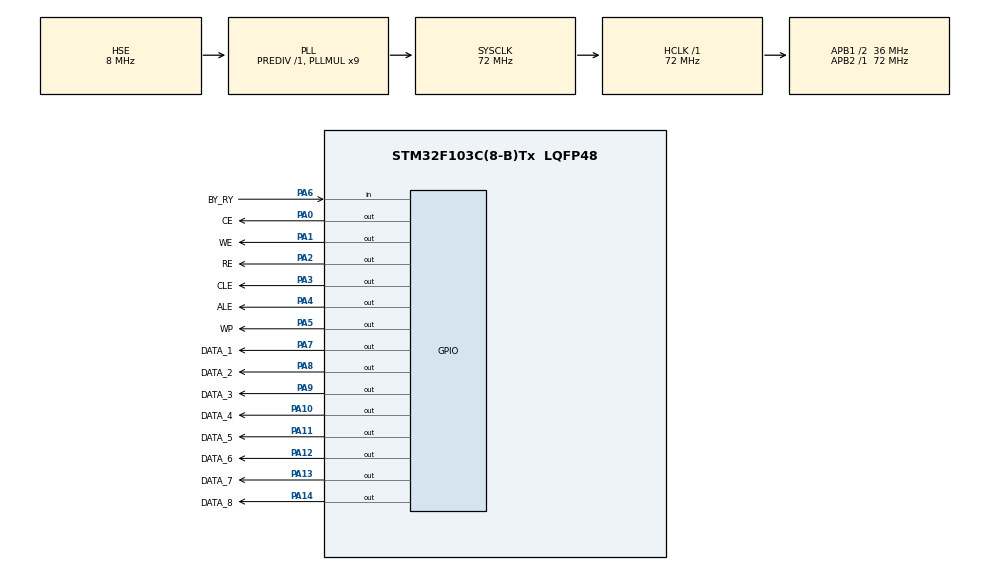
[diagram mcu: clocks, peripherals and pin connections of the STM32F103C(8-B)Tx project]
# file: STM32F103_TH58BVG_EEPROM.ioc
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Mcu.Family=STM32F1
Mcu.Name=STM32F103C(8-B)Tx
Mcu.Package=LQFP48
NVIC.PriorityGroup=NVIC_PRIORITYGROUP_4
PA0-WKUP.GPIO_Label=CE
PA0-WKUP.Signal=GPIO_Output
PA1.GPIO_Label=WE
PA1.Signal=GPIO_Output
PA10.GPIO_Label=DATA_4
PA10.Signal=GPIO_Output
PA11.GPIO_Label=DATA_5
PA11.Signal=GPIO_Output
PA12.GPIO_Label=DATA_6
PA12.Signal=GPIO_Output
PA13.GPIO_Label=DATA_7
PA13.Signal=GPIO_Output
PA14.GPIO_Label=DATA_8
PA14.Signal=GPIO_Output
PA2.GPIO_Label=RE
PA2.Signal=GPIO_Output
PA3.GPIO_Label=CLE
PA3.Signal=GPIO_Output
PA4.GPIO_Label=ALE
PA4.Signal=GPIO_Output
PA5.GPIO_Label=WP
PA5.Signal=GPIO_Output
PA6.GPIO_Label=BY_RY
PA6.Signal=GPIO_Input
PA7.GPIO_Label=DATA_1
PA7.Signal=GPIO_Output
PA8.GPIO_Label=DATA_2
PA8.Signal=GPIO_Output
PA9.GPIO_Label=DATA_3
PA9.Signal=GPIO_Output
PD0-OSC_IN.Mode=HSE-External-Oscillator
PD0-OSC_IN.Signal=RCC_OSC_IN
PD1-OSC_OUT.Mode=HSE-External-Oscillator
PD1-OSC_OUT.Signal=RCC_OSC_OUT
ProjectManager.HeapSize=0x200
ProjectManager.StackSize=0x400
ProjectManager.TargetToolchain=STM32CubeIDE
RCC.AHBFreq_Value=72000000
RCC.APB1CLKDivider=RCC_HCLK_DIV2
RCC.APB1Freq_Value=36000000
RCC.APB1TimFreq_Value=72000000
RCC.APB2Freq_Value=72000000
RCC.APB2TimFreq_Value=72000000
RCC.HCLKFreq_Value=72000000
RCC.PLLMUL=RCC_PLL_MUL9
RCC.PLLSourceVirtual=RCC_PLLSOURCE_HSE
RCC.SYSCLKFreq_VALUE=72000000
RCC.SYSCLKSource=RCC_SYSCLKSOURCE_PLLCLK
RCC.USBFreq_Value=72000000
VP_SYS_VS_ND.Mode=No_Debug
board=custom

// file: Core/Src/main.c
/* USER CODE BEGIN Header */
/**
  ******************************************************************************
  * @file           : main.c
  * @brief          : Main program body
  ******************************************************************************
  * @attention
  *
  * Copyright (c) 2024 STMicroelectronics.
  * All rights reserved.
  *
  * This software is licensed under terms that can be found in the LICENSE file
  * in the root directory of this software component.
  * If no LICENSE file comes with this software, it is provided AS-IS.
  *
  ******************************************************************************
  */
/* USER CODE END Header */
#include "main.h"

/* USER CODE BEGIN Includes */
#include "stdint.h"
/* USER CODE END Includes */

/* USER CODE BEGIN PD */
#define LOW 		(GPIO_PIN_RESET)
#define HIGH 		(GPIO_PIN_SET)
#define DATA_PINS	((uint32_t)(DATA_1_Pin | DATA_2_Pin | DATA_3_Pin | DATA_4_Pin | DATA_5_Pin | DATA_6_Pin | DATA_7_Pin | DATA_8_Pin))
/* USER CODE END PD */

void SystemClock_Config(void);
static void MX_GPIO_Init(void);

/* USER CODE BEGIN PFP */

void Set_Command_Mode(void);
void Set_Address_Input_Mode(void);
void Write_Command(uint8_t Command);
void Write_Address(uint8_t Address);
uint8_t Read_Data(void);
void Write_Data(uint8_t Data);
uint8_t Read_EEPROM_Bytes(uint8_t* ReadBuffer, uint16_t NumOfBytes, uint32_t PageAddress, uint16_t ColumnAddress);
uint8_t Write_EEPROM_Bytes(uint8_t* WriteBuffer, uint16_t NumOfBytes, uint32_t PageAddress, uint16_t ColumnAddress);

/* USER CODE END PFP */

int main(void)
{

  /* MCU Configuration--------------------------------------------------------*/

  /* Reset of all peripherals, Initializes the Flash interface and the Systick. */
  HAL_Init();

  /* Configure the system clock */
  SystemClock_Config();

  /* Initialize all configured peripherals */
  MX_GPIO_Init();

  /* Infinite loop */
  while (1)
  {

  }
}

void SystemClock_Config(void)
{
  RCC_OscInitTypeDef RCC_OscInitStruct = {0};
  RCC_ClkInitTypeDef RCC_ClkInitStruct = {0};

  /** Initializes the RCC Oscillators according to the specified parameters
  * in the RCC_OscInitTypeDef structure.
  */
  RCC_OscInitStruct.OscillatorType = RCC_OSCILLATORTYPE_HSE;
  RCC_OscInitStruct.HSEState = RCC_HSE_ON;
  RCC_OscInitStruct.HSEPredivValue = RCC_HSE_PREDIV_DIV1;
  RCC_OscInitStruct.HSIState = RCC_HSI_ON;
  RCC_OscInitStruct.PLL.PLLState = RCC_PLL_ON;
  RCC_OscInitStruct.PLL.PLLSource = RCC_PLLSOURCE_HSE;
  RCC_OscInitStruct.PLL.PLLMUL = RCC_PLL_MUL9;
  if (HAL_RCC_OscConfig(&RCC_OscInitStruct) != HAL_OK)
  {
    Error_Handler();
  }

  /** Initializes the CPU, AHB and APB buses clocks
  */
  RCC_ClkInitStruct.ClockType = RCC_CLOCKTYPE_HCLK|RCC_CLOCKTYPE_SYSCLK
                              |RCC_CLOCKTYPE_PCLK1|RCC_CLOCKTYPE_PCLK2;
  RCC_ClkInitStruct.SYSCLKSource = RCC_SYSCLKSOURCE_PLLCLK;
  RCC_ClkInitStruct.AHBCLKDivider = RCC_SYSCLK_DIV1;
  RCC_ClkInitStruct.APB1CLKDivider = RCC_HCLK_DIV2;
  RCC_ClkInitStruct.APB2CLKDivider = RCC_HCLK_DIV1;

  if (HAL_RCC_ClockConfig(&RCC_ClkInitStruct, FLASH_LATENCY_2) != HAL_OK)
  {
    Error_Handler();
  }
}

static void MX_GPIO_Init(void)
{
  GPIO_InitTypeDef GPIO_InitStruct = {0};

  /* GPIO Ports Clock Enable */
  __HAL_RCC_GPIOD_CLK_ENABLE();
  __HAL_RCC_GPIOA_CLK_ENABLE();

  /*Configure GPIO pin Output Level */
  HAL_GPIO_WritePin(GPIOA, CE_Pin|WE_Pin|RE_Pin|CLE_Pin
                          |ALE_Pin|WP_Pin|DATA_1_Pin|DATA_2_Pin
                          |DATA_3_Pin|DATA_4_Pin|DATA_5_Pin|DATA_6_Pin
                          |DATA_7_Pin|DATA_8_Pin, GPIO_PIN_RESET);

  /*Configure GPIO pins : CE_Pin WE_Pin RE_Pin CLE_Pin
                           ALE_Pin WP_Pin DATA_1_Pin DATA_2_Pin
                           DATA_3_Pin DATA_4_Pin DATA_5_Pin DATA_6_Pin
                           DATA_7_Pin DATA_8_Pin */
  GPIO_InitStruct.Pin = CE_Pin|WE_Pin|RE_Pin|CLE_Pin
                          |ALE_Pin|WP_Pin|DATA_1_Pin|DATA_2_Pin
                          |DATA_3_Pin|DATA_4_Pin|DATA_5_Pin|DATA_6_Pin
                          |DATA_7_Pin|DATA_8_Pin;
  GPIO_InitStruct.Mode = GPIO_MODE_OUTPUT_PP;
  GPIO_InitStruct.Pull = GPIO_NOPULL;
  GPIO_InitStruct.Speed = GPIO_SPEED_FREQ_LOW;
  HAL_GPIO_Init(GPIOA, &GPIO_InitStruct);

  /*Configure GPIO pin : BY_RY_Pin */
  GPIO_InitStruct.Pin = BY_RY_Pin;
  GPIO_InitStruct.Mode = GPIO_MODE_INPUT;
  GPIO_InitStruct.Pull = GPIO_NOPULL;
  HAL_GPIO_Init(BY_RY_GPIO_Port, &GPIO_InitStruct);

}

/* USER CODE BEGIN 4 */
void Set_Command_Mode(void)
{
	HAL_GPIO_WritePin(GPIOA, CE_Pin, LOW);		//turn the Chip Enable Pin to Low
	HAL_GPIO_WritePin(GPIOA, CLE_Pin, HIGH);	//turn the Command Latch Enable Pin High
	HAL_GPIO_WritePin(GPIOA, ALE_Pin, LOW);		//turn the Address Latch Enable Pin Low
}

void Set_Address_Input_Mode(void)
{
	HAL_GPIO_WritePin(GPIOA, CE_Pin, LOW);		//turn the Chip Enable Pin to Low
	HAL_GPIO_WritePin(GPIOA, CLE_Pin, LOW);		//turn the Command Latch Enable Pin Low
	HAL_GPIO_WritePin(GPIOA, ALE_Pin, HIGH);	//turn the Address Latch Enable Pin High
}

void Write_Command(uint8_t Command)
{
	Set_Command_Mode();
	HAL_GPIO_WritePin(GPIOA, WE_Pin, LOW);

	GPIOA->ODR = (GPIOA->ODR & (~DATA_PINS)) | ( ((uint32_t)Command) << 7 );

	HAL_GPIO_WritePin(GPIOA, WE_Pin, HIGH);
}

void Write_Address(uint8_t Address)
{
	Set_Address_Input_Mode();

	HAL_GPIO_WritePin(GPIOA, WE_Pin, LOW);
	GPIOA->ODR = (GPIOA->ODR & (~DATA_PINS)) | ( ((uint32_t)Address) << 7 );
	HAL_GPIO_WritePin(GPIOA, WE_Pin, HIGH);
}

uint8_t Read_Data(void)
{
	GPIO_InitTypeDef GPIO_InitStruct = {0};
	GPIO_InitStruct.Pin = DATA_PINS;
	GPIO_InitStruct.Mode = GPIO_MODE_INPUT;
	GPIO_InitStruct.Pull = GPIO_NOPULL;
	HAL_GPIO_Init(GPIOA, &GPIO_InitStruct);

	HAL_GPIO_WritePin(GPIOA, RE_Pin, LOW);

	uint8_t Data = (uint8_t)((GPIOA->IDR & DATA_PINS) >> 7);

	HAL_GPIO_WritePin(GPIOA, RE_Pin, HIGH);

	return Data;
}

void Write_Data(uint8_t Data)
{
	GPIO_InitTypeDef GPIO_InitStruct = {0};
	GPIO_InitStruct.Pin = DATA_PINS;
	GPIO_InitStruct.Mode = GPIO_MODE_OUTPUT_PP;
	GPIO_InitStruct.Pull = GPIO_NOPULL;
	GPIO_InitStruct.Speed = GPIO_SPEED_FREQ_LOW;
	HAL_GPIO_Init(GPIOA, &GPIO_InitStruct);

	HAL_GPIO_WritePin(GPIOA, WE_Pin, LOW);

	GPIOA->ODR = (GPIOA->ODR & (~DATA_PINS)) | ( ((uint32_t)Data) << 7 );

	HAL_GPIO_WritePin(GPIOA, WE_Pin, HIGH);
}

/*	This function Read bytes from a single page of the EEPROM.
	There are 2^12 = 4096 bytes readable/writable bytes in 1 page.
	There are total 2^18 = 262144 pages in the EEPROM.
	functions returns 0 if read operation passed and 1 if failed	*/

uint8_t Read_EEPROM_Bytes(uint8_t* ReadBuffer, uint16_t NumOfBytes, uint32_t PageAddress, uint16_t ColumnAddress)
{
	uint8_t columnaddressL = (uint8_t)(ColumnAddress & 0x00FF);
	uint8_t columnaddressH = (uint8_t)((ColumnAddress & 0xFF00)>>8);

	uint8_t pageaddressL = (uint8_t)(PageAddress & 0x000000FF);
	uint8_t pageaddressM = (uint8_t)((PageAddress & 0x0000FF00) >> 8);
	uint8_t pageaddressH = (uint8_t)((PageAddress & 0x00FF0000) >> 16);

	Write_Command(0x00);

	Write_Address(columnaddressL);
	Write_Address(columnaddressH);

	Write_Address(pageaddressL);
	Write_Address(pageaddressM);
	Write_Address(pageaddressH);

	Write_Command(0x30);

	while(HAL_GPIO_ReadPin(GPIOA, BY_RY_Pin) == 0);

	Write_Command(0x70);

	HAL_GPIO_WritePin(GPIOA, CE_Pin, LOW);
	HAL_GPIO_WritePin(GPIOA, CLE_Pin, LOW);
	HAL_GPIO_WritePin(GPIOA, ALE_Pin, LOW);

	if( (Read_Data() & 0x01) == 1)
		return 1;

	for(uint16_t i=0; i<NumOfBytes; i++)
	{
		ReadBuffer[i] = Read_Data();
	}

	return 0;
}

/*	This function Write bytes to a single page of the EEPROM.
	There are 2^12 = 4096 bytes readable/writable bytes in 1 page.
	There are total 2^18 = 262144 pages in the EEPROM.
	functions returns 0 if write operation passed and 1 if failed	*/

uint8_t Write_EEPROM_Bytes(uint8_t* WriteBuffer, uint16_t NumOfBytes, uint32_t PageAddress, uint16_t ColumnAddress)
{
	uint8_t columnaddressL = (uint8_t)(ColumnAddress & 0x00FF);
	uint8_t columnaddressH = (uint8_t)((ColumnAddress & 0xFF00)>>8);

	uint8_t pageaddressL = (uint8_t)(PageAddress & 0x000000FF);
	uint8_t pageaddressM = (uint8_t)((PageAddress & 0x0000FF00) >> 8);
	uint8_t pageaddressH = (uint8_t)((PageAddress & 0x00FF0000) >> 16);

	Write_Command(0x80);

	Write_Address(columnaddressL);
	Write_Address(columnaddressH);

	Write_Address(pageaddressL);
	Write_Address(pageaddressM);
	Write_Address(pageaddressH);

	HAL_GPIO_WritePin(GPIOA, CE_Pin, LOW);
	HAL_GPIO_WritePin(GPIOA, CLE_Pin, LOW);
	HAL_GPIO_WritePin(GPIOA, ALE_Pin, LOW);

	for(uint16_t i=0; i<NumOfBytes; i++)
	{
		Write_Data(WriteBuffer[i]);
	}

	Write_Command(0x10);

	while(HAL_GPIO_ReadPin(GPIOA, BY_RY_Pin) == 0);  //wait for the RY/BY Pin to get on ready state i.e. (== 1)

	Write_Command(0x70);

	return (Read_Data() & 0x01);	//return 0 means operation was successfull & 1 means failed.
}

/* USER CODE END 4 */

void Error_Handler(void)
{
  __disable_irq();
  while (1)
  {
  }
}
